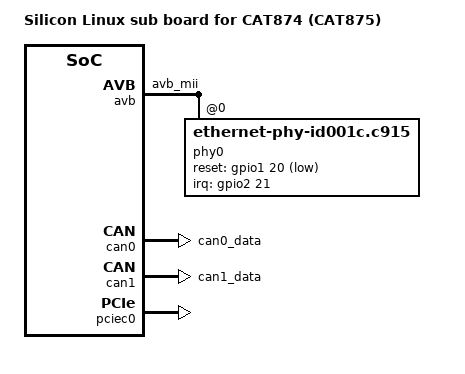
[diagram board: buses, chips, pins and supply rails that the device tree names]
// SPDX-License-Identifier: GPL-2.0
/*
 * Device Tree Source for the Silicon Linux sub board for CAT874 (CAT875)
 *
 * Copyright (C) 2019 Renesas Electronics Corp.
 */

/ {
	model = "Silicon Linux sub board for CAT874 (CAT875)";

	aliases {
		ethernet0 = &avb;
	};
};

&avb {
	pinctrl-0 = <&avb_pins>;
	pinctrl-names = "default";
	renesas,no-ether-link;
	phy-handle = <&phy0>;
	phy-mode = "rgmii-id";
	status = "okay";

	phy0: ethernet-phy@0 {
		compatible = "ethernet-phy-id001c.c915",
			     "ethernet-phy-ieee802.3-c22";
		reg = <0>;
		interrupt-parent = <&gpio2>;
		interrupts = <21 IRQ_TYPE_LEVEL_LOW>;
		reset-gpios = <&gpio1 20 GPIO_ACTIVE_LOW>;
	};
};

&can0 {
	pinctrl-0 = <&can0_pins>;
	pinctrl-names = "default";
	status = "okay";
};

&can1 {
	pinctrl-0 = <&can1_pins>;
	pinctrl-names = "default";
	status = "okay";
};

&pciec0 {
	status = "okay";
};

&pfc {
	avb_pins: avb {
		mux {
			groups = "avb_mii";
			function = "avb";
		};
	};

	can0_pins: can0 {
		groups = "can0_data";
		function = "can0";
	};

	can1_pins: can1 {
		groups = "can1_data";
		function = "can1";
	};
};
